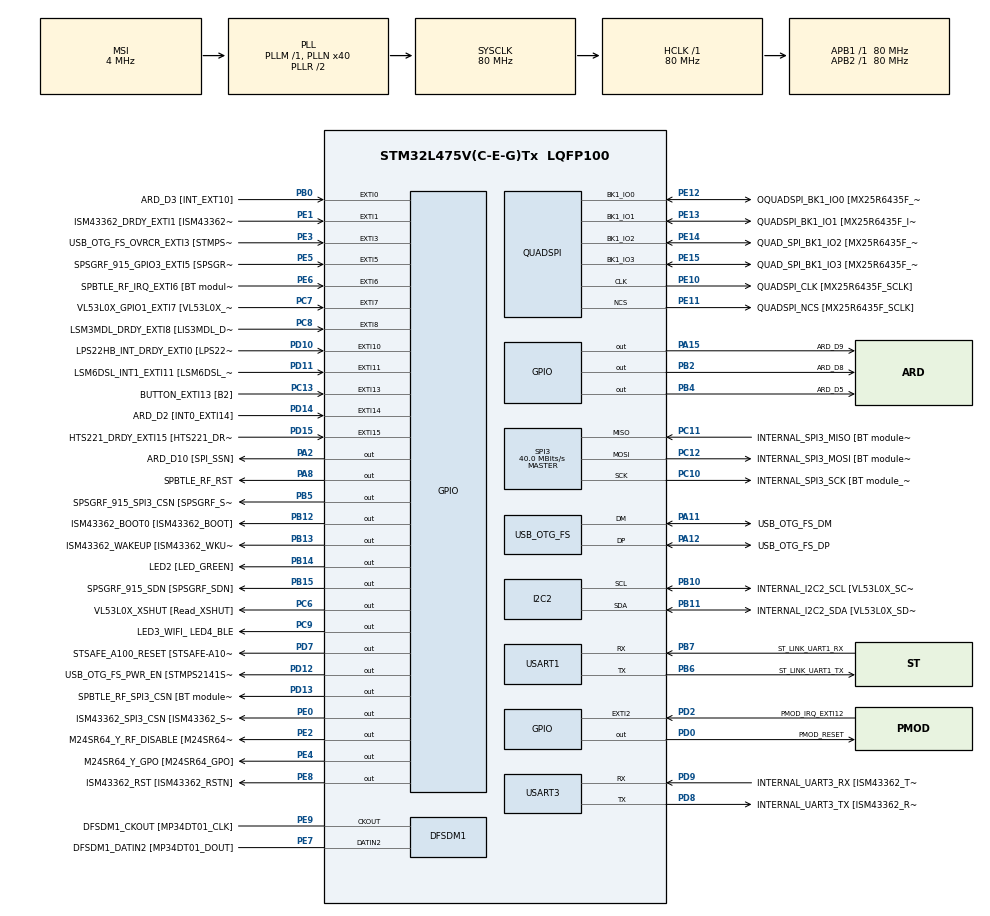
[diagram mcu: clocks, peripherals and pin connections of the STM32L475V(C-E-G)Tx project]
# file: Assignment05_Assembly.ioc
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I2C2.Timing=0x10909CEC
Mcu.Family=STM32L4
Mcu.Name=STM32L475V(C-E-G)Tx
Mcu.Package=LQFP100
NVIC.EXTI15_10_IRQn=true\:0\:0\:false\:false\:true\:true\:true\:true
NVIC.EXTI9_5_IRQn=true\:0\:0\:false\:false\:true\:true\:true\:true
NVIC.PriorityGroup=NVIC_PRIORITYGROUP_4
PA0.GPIO_Label=ARD_D1 [UART4_TX]
PA0.Signal=UART4_TX
PA1.GPIO_Label=ARD_D0 [UART4_RX]
PA1.Signal=UART4_RX
PA10.GPIO_Label=USB_OTG_FS_ID
PA10.Signal=USB_OTG_FS_ID
PA11.GPIO_Label=USB_OTG_FS_DM
PA11.Mode=Device_Only
PA11.Signal=USB_OTG_FS_DM
PA12.GPIO_Label=USB_OTG_FS_DP
PA12.Mode=Device_Only
PA12.Signal=USB_OTG_FS_DP
PA13\ (JTMS-SWDIO).GPIO_Label=SYS_JTMS_SWDIO
PA13\ (JTMS-SWDIO).Mode=Serial_Wire
PA13\ (JTMS-SWDIO).Signal=SYS_JTMS-SWDIO
PA14\ (JTCK-SWCLK).GPIO_Label=SYS_JTCK_SWCLK
PA14\ (JTCK-SWCLK).Mode=Serial_Wire
PA14\ (JTCK-SWCLK).Signal=SYS_JTCK-SWCLK
PA15\ (JTDI).GPIO_Label=ARD_D9
PA15\ (JTDI).Signal=GPIO_Output
PA2.GPIO_Label=ARD_D10 [SPI_SSN]
PA2.Signal=GPIO_Output
PA3.GPIO_Label=ARD_D4
PA3.Signal=S_TIM2_CH4
PA4.GPIO_Label=ARD_D7
PA4.Signal=ADCx_IN9
PA5.GPIO_Label=ARD_D13 [SPI1_SCK]
PA5.Signal=SPI1_SCK
PA6.GPIO_Label=ARD_D12 [SPI1_MISO]
PA6.Signal=SPI1_MISO
PA7.GPIO_Label=ARD_D11 [SPI1_MOSI]
PA7.Signal=SPI1_MOSI
PA8.GPIO_Label=SPBTLE_RF_RST
PA8.Signal=GPIO_Output
PA9.GPIO_Label=USB_OTG_FS_VBUS [STMPS2141STR_OUT]
PA9.Signal=USB_OTG_FS_VBUS
PB0.GPIO_Label=ARD_D3 [INT_EXT10]
PB0.Signal=GPXTI0
PB1.GPIO_Label=ARD_D6 [ADC1_IN6]
PB1.Signal=ADCx_IN16
PB10.GPIO_Label=INTERNAL_I2C2_SCL [VL53L0X_SCL]
PB10.GPIO_Pu=GPIO_PULLUP
PB10.Mode=I2C
PB10.Signal=I2C2_SCL
PB11.GPIO_Label=INTERNAL_I2C2_SDA [VL53L0X_SDA]
PB11.GPIO_Pu=GPIO_PULLUP
PB11.Mode=I2C
PB11.Signal=I2C2_SDA
PB12.GPIO_Label=ISM43362_BOOT0 [ISM43362_BOOT]
PB12.Signal=GPIO_Output
PB13.GPIO_Label=ISM43362_WAKEUP [ISM43362_WKUP]
PB13.Signal=GPIO_Output
PB14.GPIO_Label=LED2 [LED_GREEN]
PB14.Signal=GPIO_Output
PB15.GPIO_Label=SPSGRF_915_SDN [SPSGRF_SDN]
PB15.Signal=GPIO_Output
PB2.GPIO_Label=ARD_D8
PB2.Signal=GPIO_Output
PB3\ (JTDO-TRACESWO).GPIO_Label=SYS_JTD0_SWO
PB3\ (JTDO-TRACESWO).Signal=SYS_JTDO-SWO
PB4\ (NJTRST).GPIO_Label=ARD_D5
PB4\ (NJTRST).Signal=GPIO_Output
PB5.GPIO_Label=SPSGRF_915_SPI3_CSN [SPSGRF_SPI_CS]
PB5.PinState=GPIO_PIN_SET
PB5.Signal=GPIO_Output
PB6.GPIO_Label=ST_LINK_UART1_TX
PB6.Mode=Asynchronous
PB6.Signal=USART1_TX
PB7.GPIO_Label=ST_LINK_UART1_RX
PB7.Mode=Asynchronous
PB7.Signal=USART1_RX
PB8.GPIO_Label=ARD_D15 [I2C1_SCL]
PB8.Signal=I2C1_SCL
PB9.GPIO_Label=ARD_D14 [I2C1_SDA]
PB9.Signal=I2C1_SDA
PC0.GPIO_Label=ARD_A5 [ADC]
PC0.Signal=ADCx_IN1
PC1.GPIO_Label=ARD_A4 [ADC]
PC1.Signal=ADCx_IN2
PC10.GPIO_Label=INTERNAL_SPI3_SCK [BT module_SPI_SCLK] [ISM43362_SCK]
PC10.Mode=Full_Duplex_Master
PC10.Signal=SPI3_SCK
PC11.GPIO_Label=INTERNAL_SPI3_MISO [BT module_SPI_MISO] [ISM43362_MISO]
PC11.Mode=Full_Duplex_Master
PC11.Signal=SPI3_MISO
PC12.GPIO_Label=INTERNAL_SPI3_MOSI [BT module_SPI_MOSI] [ISM43362_MOSI]
PC12.Mode=Full_Duplex_Master
PC12.Signal=SPI3_MOSI
PC13.GPIO_Label=BUTTON_EXTI13 [B2]
PC13.GPIO_ModeDefaultEXTI=GPIO_MODE_IT_FALLING
PC13.Signal=GPXTI13
PC14-OSC32_IN\ (PC14).Mode=LSE-External-Oscillator
PC14-OSC32_IN\ (PC14).Signal=RCC_OSC32_IN
PC15-OSC32_OUT\ (PC15).Mode=LSE-External-Oscillator
PC15-OSC32_OUT\ (PC15).Signal=RCC_OSC32_OUT
PC2.GPIO_Label=ARD_A3 [ADC]
PC2.Signal=ADCx_IN3
PC3.GPIO_Label=ARD_A2 [ADC]
PC3.Signal=ADCx_IN4
PC4.GPIO_Label=ARD_A1 [ADC]
PC4.Signal=ADCx_IN13
PC5.GPIO_Label=ARD_A0 [ADC]
PC5.Signal=ADCx_IN14
PC6.GPIO_Label=VL53L0X_XSHUT [Read_XSHUT]
PC6.Signal=GPIO_Output
PC7.GPIO_Label=VL53L0X_GPIO1_EXTI7 [VL53L0X_GPIO1]
PC7.Signal=GPXTI7
PC8.GPIO_Label=LSM3MDL_DRDY_EXTI8 [LIS3MDL_DRDY]
PC8.Signal=GPXTI8
PC9.GPIO_Label=LED3_WIFI_ LED4_BLE
PC9.Signal=GPIO_Output
PD0.GPIO_Label=PMOD_RESET
PD0.Signal=GPIO_Output
PD1.GPIO_Label=PMOD_SPI2_SCK
PD1.Signal=SPI2_SCK
PD10.GPIO_Label=LPS22HB_INT_DRDY_EXTI0 [LPS22HB_INT_DRDY] 
PD10.Signal=GPXTI10
PD11.GPIO_Label=LSM6DSL_INT1_EXTI11 [LSM6DSL_INT1]
PD11.Signal=GPXTI11
PD12.GPIO_Label=USB_OTG_FS_PWR_EN [STMPS2141STR_EN]
PD12.Signal=GPIO_Output
PD13.GPIO_Label=SPBTLE_RF_SPI3_CSN [BT module_SPI_CS]
PD13.PinState=GPIO_PIN_SET
PD13.Signal=GPIO_Output
PD14.GPIO_Label=ARD_D2 [INT0_EXTI14]
PD14.Signal=GPXTI14
PD15.GPIO_Label=HTS221_DRDY_EXTI15 [HTS221_DRDY]
PD15.Signal=GPXTI15
PD2.GPIO_Label=PMOD_IRQ_EXTI12
PD2.Signal=GPXTI2
PD3.GPIO_Label=PMOD_UART2_CTS
PD3.Signal=USART2_CTS
PD4.GPIO_Label=PMOD_UART2_RTS
PD4.Signal=USART2_RTS
PD5.GPIO_Label=PMOD_UART2_TX
PD5.Signal=USART2_TX
PD6.GPIO_Label=PMOD_UART2_RX
PD6.Signal=USART2_RX
PD7.GPIO_Label=STSAFE_A100_RESET [STSAFE-A100_RESET]
PD7.Signal=GPIO_Output
PD8.GPIO_Label=INTERNAL_UART3_TX [ISM43362_RX]
PD8.Mode=Asynchronous
PD8.Signal=USART3_TX
PD9.GPIO_Label=INTERNAL_UART3_RX [ISM43362_TX]
PD9.Mode=Asynchronous
PD9.Signal=USART3_RX
PE0.GPIO_Label=ISM43362_SPI3_CSN [ISM43362_SSN]
PE0.PinState=GPIO_PIN_SET
PE0.Signal=GPIO_Output
PE1.GPIO_Label=ISM43362_DRDY_EXTI1 [ISM43362_DATARDY]
PE1.Signal=GPXTI1
PE10.GPIO_Label=QUADSPI_CLK [MX25R6435F_SCLK]
PE10.Mode=Single Bank
PE10.Signal=QUADSPI_CLK
PE11.GPIO_Label=QUADSPI_NCS [MX25R6435F_SCLK]
PE11.Mode=Single Bank
PE11.Signal=QUADSPI_NCS
PE12.GPIO_Label=OQUADSPI_BK1_IO0 [MX25R6435F_IO0]
PE12.Mode=Single Bank
PE12.Signal=QUADSPI_BK1_IO0
PE13.GPIO_Label=QUADSPI_BK1_IO1 [MX25R6435F_IO1]
PE13.Mode=Single Bank
PE13.Signal=QUADSPI_BK1_IO1
PE14.GPIO_Label=QUAD_SPI_BK1_IO2 [MX25R6435F_IO2]
PE14.Mode=Single Bank
PE14.Signal=QUADSPI_BK1_IO2
PE15.GPIO_Label=QUAD_SPI_BK1_IO3 [MX25R6435F_IO3]
PE15.Mode=Single Bank
PE15.Signal=QUADSPI_BK1_IO3
PE2.GPIO_Label=M24SR64_Y_RF_DISABLE [M24SR64_RFDIS]
PE2.Signal=GPIO_Output
PE3.GPIO_Label=USB_OTG_FS_OVRCR_EXTI3 [STMPS2141STR_FAULT]
PE3.Signal=GPXTI3
PE4.GPIO_Label=M24SR64_Y_GPO [M24SR64_GPO]
PE4.Signal=GPIO_Output
PE5.GPIO_Label=SPSGRF_915_GPIO3_EXTI5 [SPSGRF_GPIO_3]
PE5.Signal=GPXTI5
PE6.GPIO_Label=SPBTLE_RF_IRQ_EXTI6 [BT module_SPI_IRQ]
PE6.Signal=GPXTI6
PE7.GPIO_Label=DFSDM1_DATIN2 [MP34DT01_DOUT]
PE7.Signal=S_DATAIN2DFSDM1
PE8.GPIO_Label=ISM43362_RST [ISM43362_RSTN]
PE8.Signal=GPIO_Output
PE9.GPIO_Label=DFSDM1_CKOUT [MP34DT01_CLK]
PE9.Signal=S_CKOUTDFSDM1
ProjectManager.HeapSize=0x200
ProjectManager.StackSize=0x400
ProjectManager.TargetToolchain=STM32CubeIDE
QUADSPI.ClockPrescaler=2
QUADSPI.FifoThreshold=4
QUADSPI.FlashSize=23
QUADSPI.SampleShifting=QSPI_SAMPLE_SHIFTING_HALFCYCLE
RCC.ADCFreq_Value=48000000
RCC.AHBFreq_Value=80000000
RCC.APB1Freq_Value=80000000
RCC.APB1TimFreq_Value=80000000
RCC.APB2Freq_Value=80000000
RCC.APB2TimFreq_Value=80000000
RCC.CortexFreq_Value=80000000
RCC.HCLKFreq_Value=80000000
RCC.HSE_VALUE=8000000
RCC.HSI_VALUE=16000000
RCC.MSI_VALUE=4000000
RCC.PLLN=40
RCC.PLLSAI1N=24
RCC.SYSCLKFreq_VALUE=80000000
RCC.SYSCLKSource=RCC_SYSCLKSOURCE_PLLCLK
RCC.USBFreq_Value=48000000
RCC.VCOOutputFreq_Value=160000000
SH.ADCx_IN1.0=ADC1_IN1
SH.ADCx_IN13.0=ADC1_IN13
SH.ADCx_IN14.0=ADC1_IN14
SH.ADCx_IN16.0=ADC1_IN16
SH.ADCx_IN2.0=ADC1_IN2
SH.ADCx_IN3.0=ADC1_IN3
SH.ADCx_IN4.0=ADC1_IN4
SH.ADCx_IN9.0=ADC1_IN9
SH.S_CKOUTDFSDM1.0=DFSDM1_CKOUT,CKOUT
SH.S_CKOUTDFSDM1.1=DFSDM1_CKOUT,PDM_SPI_Input_from_ch12_and_Internal_Clock
SH.S_DATAIN2DFSDM1.0=DFSDM1_DATIN2,PDM_SPI_Input_from_ch12_and_Internal_Clock
SH.S_TIM2_CH4.0=TIM2_CH4
SPI3.CalculateBaudRate=40.0 MBits/s
SPI3.Direction=SPI_DIRECTION_2LINES
SPI3.Mode=SPI_MODE_MASTER
SPI3.VirtualType=VM_MASTER
USART1.VirtualMode-Asynchronous=VM_ASYNC
USART3.VirtualMode-Asynchronous=VM_ASYNC
USB_OTG_FS.VirtualMode=Device_Only
board=B-L475E-IOT01A1

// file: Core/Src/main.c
/* USER CODE BEGIN Header */
/**
  ******************************************************************************
  * @file           : main.c
  * @brief          : Main program body
  ******************************************************************************
  * @attention
  *
  * Copyright (c) 2023 STMicroelectronics.
  * All rights reserved.
  *
  * This software is licensed under terms that can be found in the LICENSE file
  * in the root directory of this software component.
  * If no LICENSE file comes with this software, it is provided AS-IS.
  *
  ******************************************************************************
  */
/* USER CODE END Header */
#include "main.h"

/* USER CODE BEGIN Includes */
#include "print.h"
/* USER CODE END Includes */

/* USER CODE BEGIN PM */
PRINT_DEFINEBUFFER(); // required for lightweight sprintf

/* USER CODE END PM */

DFSDM_Channel_HandleTypeDef hdfsdm1_channel1;

I2C_HandleTypeDef hi2c2;

QSPI_HandleTypeDef hqspi;

SPI_HandleTypeDef hspi3;

UART_HandleTypeDef huart1;
UART_HandleTypeDef huart3;

PCD_HandleTypeDef hpcd_USB_OTG_FS;

void SystemClock_Config(void);
static void MX_GPIO_Init(void);
static void MX_DFSDM1_Init(void);
static void MX_I2C2_Init(void);
static void MX_QUADSPI_Init(void);
static void MX_SPI3_Init(void);
static void MX_USART1_UART_Init(void);
static void MX_USART3_UART_Init(void);
static void MX_USB_OTG_FS_PCD_Init(void);
/* USER CODE BEGIN PFP */
uint32_t sqrAsm(int val);
uint32_t div_asm(int val);
int fah_to_cel_asm(int temperature);
int swap_chars_asm(char *ptr1, char *ptr2);
void swap_pointers(int **ptr1, int **ptr2);

/* USER CODE END PFP */

/* USER CODE BEGIN 0 */

// Change [My name] to your name      //
const uint8_t myTxData[] = "EMBSYS310: UW Test Application - [negar matin]'s STM32L475 IoT node is alive!!!\r\n";
const char* myCstr = "\nHello from assembly! ";
 char* myCstr_2 = "\n X divided by 2 equles : x/2 =  ";
const char  before_str[25] = "\n befor  swapping : ";
const char after_str[25] = "\n after swapping : ";
//char* X_str = "\n x =  ";
const char* X_str = "\n x =  ";
const uint8_t endOfProgram[] = "\n******** THE END ******** \r\n";

int fah_to_cel_asm(int temperature)
{
  // Formula:
  // Subtract 32, then multiply by 5, then divide by 9
  // EX: (50F - 32) x 5/9 = 10C

  asm("SUB r0, %1, #32\n\t"
      "MOV r1, #5\n\t"
      "MUL r0, r0, r1\n\t"
      "MOV r2, #9\n\t"
      "SDIV %0, r0, r2"
      : "=r" (temperature)  // %0 is output variable
      : "0" (temperature)   // %1 is input variable
      : "r1", "r2", "cc"    // r1, r2 and APSR get clobbered
    );

  return temperature;
}

int swap_chars_asm(char *ptr1, char *ptr2) {
  int result = 0;
  /*PrintString("before swapping variables : ");
  Print_uint32(*ptr1);
  PrintString("  ");
  Print_uint32(*ptr2);
  PrintString("\n");
  PrintString("***********************\n");*/

    asm (
        //"ldr r3, [r7, #0]\n"
        //"bl Print_uint32\n"
        "ldr r0, =before_str\n\t"
        "bl PrintString\n"
        "LDR r0, [%2]\n\t"     // Load the value from ptr1 into r0
        "LDR r1, [%1]\n\t"     // Load the value from ptr2 into r1
        "STR r1, [%2]\n\t"     // Store the value of r1 into ptr1 (swapping)
        "STR r0, [%1]\n\t"     // Store the value of r0 into ptr2 (swapping)
        "CMP r0, r1\n\t"          // Compare r0 and r1
        "BEQ zero\n\t"
        "MOV r3,1\n\t"
        "B  end\n\t"
        "zero:\n\t"
        "MOV r3,0\n\t"
        "end:\n\t"
        "STR r3,[%0]\n\t"
        //"ITE NE\n\t"      // If equal
        //"MOVNE %0, #1\n\t"        // Move 1 to result
        //"IT EQ\n\t"               // If equal
        //"MOVEQ %0, #0\n\t"        // Move 0 to result
        : "=r" (result)  //// Output: result variable
        : "r" (ptr1), "r" (ptr2)// Input variables
        : "r0", "r1", "memory"  // Registers used and memory changed
       //: "r0", "r1", "cc", "memory" // Clobbered registers, flags, and memory

    );
    /*PrintString("after swapping  variables : ");
    Print_uint32(*ptr1);
    PrintString("  ");
    Print_uint32(*ptr2);
    PrintString("\n");
    PrintString("***********************\n");*/
    return result;

}

void swap_pointers(int **ptr1, int **ptr2) {

    PrintString("before swapping pointers : \n");
    PrintHex(*ptr1);
    PrintString("\n");
    PrintHex(*ptr2);
    PrintString("\n");
    PrintHex(&ptr1);
    PrintString("  ");
    PrintHex(&ptr2);
    PrintString("\n");
    PrintString("***********************\n");
    asm volatile(
       //push {r0, r1}\n\t"    // Save r0 and r1 on the stack

       /*ldr r0, %[p1]\n\t"    // Load address of ptr1 into r0
        "ldr r1, %[p2]\n\t"    // Load address of ptr2 into r1

        "ldr r2, [r0]\n\t"     // Load value at ptr1 (address of ptr1) into r2
        "ldr r3, [r1]\n\t"     // Load value at ptr2 (address of ptr2) into r3

        "str r3, [r0]\n\t"     // Store value from r3 (address of ptr2) in ptr1
        "str r2, [r1]\n\t"     // Store value from r2 (address of ptr1) in ptr2

       //pop {r0, r1}\n\t"     // Restore r0 and r1 from the stack
        :
        : [p1] "m" (ptr1), [p2] "m" (ptr2)
        : "r2", "r3" */
        "ldr r0, [%0]\n\t"   // Load value at ptr1 into r0
        "ldr r1, [%1]\n\t"   // Load value at ptr2 into r1
        "str r1, [%0]\n\t"   // Store value from r1 in ptr1
        "str r0, [%1]\n\t"   // Store value from r0 in ptr2
        :
        : "r" (ptr1), "r" (ptr2)
        : "r0", "r1", "memory"
    );
    PrintString("after swapping  pointers : \n");
    PrintHex(*ptr1);
    PrintString("\n");
    PrintHex(*ptr2);
    PrintString("\n");
    PrintHex(&ptr1);
    PrintString("  ");
    PrintHex(&ptr2);
    PrintString("\n");
    PrintString("***********************\n");
}

/* USER CODE END 0 */

int main(void)
{

  /* MCU Configuration--------------------------------------------------------*/

  /* Reset of all peripherals, Initializes the Flash interface and the Systick. */
  HAL_Init();

  /* Configure the system clock */
  SystemClock_Config();

  /* Initialize all configured peripherals */
  MX_GPIO_Init();
  MX_DFSDM1_Init();
  MX_I2C2_Init();
  MX_QUADSPI_Init();
  MX_SPI3_Init();
  MX_USART1_UART_Init();
  MX_USART3_UART_Init();
  MX_USB_OTG_FS_PCD_Init();
  /* USER CODE BEGIN 2 */
  HAL_GPIO_TogglePin(GPIOA, GPIO_PIN_5);

  uint8_t counter = 10;
  uint32_t test = 1000;
  uint8_t sqrResult;
  uint8_t divResult;
  int swapResult;
  int  swapVar_1 = 55;
  int  swapVar_2 = 33;
  char* s1 = (char *)&swapVar_1;
  char* s2 = (char *)&swapVar_2;
  int pVar2 = 25;
  int pVar1 = 35;
  int* p1 = &pVar1;
  int* p2 = &pVar2;

  HAL_UART_Transmit(&huart1, myTxData, sizeof(myTxData), 10);

  /* USER CODE END 2 */

  /* Infinite loop */
  /* USER CODE BEGIN WHILE */
  while (counter)
  {
    /* USER CODE END WHILE */

    /* USER CODE BEGIN 3 */
    //PrintString("\nx = ");
   /* Print_uint32(counter);

    sqrResult = sqrAsm(counter);
    PrintString(" x^2 = ");
    Print_uint32(sqrResult);
    PrintString("\n");*/

    //div_asm(counter);

    counter--;
    //PrintByte(counter);

    /*swapResult = swap_chars_asm(s1 ,s2);
    PrintString("\n");
    PrintString("status of swapping  variables is : ");
    Print_uint32(swapResult);
    PrintString("\n");*/
    swap_pointers(&p1,&p2);
    HAL_Delay(500);

    HAL_GPIO_TogglePin(GPIOA, GPIO_PIN_5);
    HAL_GPIO_TogglePin(GPIOB, GPIO_PIN_14);

   HAL_Delay(500);
  }

  // Testing fah_to_cel_asm
 /*int tempC;
  PrintString("\n********** Fahrenheit to Celsius **********\n");

  for (uint32_t tempF = 0; tempF <= 100; tempF++) {
    tempC = fah_to_cel_asm(tempF);
    RETAILMSG(1, ("\t%ld Fahrenheit = %d Celsius\r\n", tempF, tempC));
  }

  HAL_UART_Transmit(&huart1, endOfProgram, sizeof(endOfProgram), 10);*/

  /* USER CODE END 3 */
}

void SystemClock_Config(void)
{
  RCC_OscInitTypeDef RCC_OscInitStruct = {0};
  RCC_ClkInitTypeDef RCC_ClkInitStruct = {0};

  /** Configure the main internal regulator output voltage
  */
  if (HAL_PWREx_ControlVoltageScaling(PWR_REGULATOR_VOLTAGE_SCALE1) != HAL_OK)
  {
    Error_Handler();
  }

  /** Configure LSE Drive Capability
  */
  HAL_PWR_EnableBkUpAccess();
  __HAL_RCC_LSEDRIVE_CONFIG(RCC_LSEDRIVE_LOW);

  /** Initializes the RCC Oscillators according to the specified parameters
  * in the RCC_OscInitTypeDef structure.
  */
  RCC_OscInitStruct.OscillatorType = RCC_OSCILLATORTYPE_LSE|RCC_OSCILLATORTYPE_MSI;
  RCC_OscInitStruct.LSEState = RCC_LSE_ON;
  RCC_OscInitStruct.MSIState = RCC_MSI_ON;
  RCC_OscInitStruct.MSICalibrationValue = 0;
  RCC_OscInitStruct.MSIClockRange = RCC_MSIRANGE_6;
  RCC_OscInitStruct.PLL.PLLState = RCC_PLL_ON;
  RCC_OscInitStruct.PLL.PLLSource = RCC_PLLSOURCE_MSI;
  RCC_OscInitStruct.PLL.PLLM = 1;
  RCC_OscInitStruct.PLL.PLLN = 40;
  RCC_OscInitStruct.PLL.PLLP = RCC_PLLP_DIV7;
  RCC_OscInitStruct.PLL.PLLQ = RCC_PLLQ_DIV2;
  RCC_OscInitStruct.PLL.PLLR = RCC_PLLR_DIV2;
  if (HAL_RCC_OscConfig(&RCC_OscInitStruct) != HAL_OK)
  {
    Error_Handler();
  }

  /** Initializes the CPU, AHB and APB buses clocks
  */
  RCC_ClkInitStruct.ClockType = RCC_CLOCKTYPE_HCLK|RCC_CLOCKTYPE_SYSCLK
                              |RCC_CLOCKTYPE_PCLK1|RCC_CLOCKTYPE_PCLK2;
  RCC_ClkInitStruct.SYSCLKSource = RCC_SYSCLKSOURCE_PLLCLK;
  RCC_ClkInitStruct.AHBCLKDivider = RCC_SYSCLK_DIV1;
  RCC_ClkInitStruct.APB1CLKDivider = RCC_HCLK_DIV1;
  RCC_ClkInitStruct.APB2CLKDivider = RCC_HCLK_DIV1;

  if (HAL_RCC_ClockConfig(&RCC_ClkInitStruct, FLASH_LATENCY_4) != HAL_OK)
  {
    Error_Handler();
  }

  /** Enable MSI Auto calibration
  */
  HAL_RCCEx_EnableMSIPLLMode();
}

static void MX_DFSDM1_Init(void)
{

  hdfsdm1_channel1.Instance = DFSDM1_Channel1;
  hdfsdm1_channel1.Init.OutputClock.Activation = ENABLE;
  hdfsdm1_channel1.Init.OutputClock.Selection = DFSDM_CHANNEL_OUTPUT_CLOCK_SYSTEM;
  hdfsdm1_channel1.Init.OutputClock.Divider = 2;
  hdfsdm1_channel1.Init.Input.Multiplexer = DFSDM_CHANNEL_EXTERNAL_INPUTS;
  hdfsdm1_channel1.Init.Input.DataPacking = DFSDM_CHANNEL_STANDARD_MODE;
  hdfsdm1_channel1.Init.Input.Pins = DFSDM_CHANNEL_FOLLOWING_CHANNEL_PINS;
  hdfsdm1_channel1.Init.SerialInterface.Type = DFSDM_CHANNEL_SPI_RISING;
  hdfsdm1_channel1.Init.SerialInterface.SpiClock = DFSDM_CHANNEL_SPI_CLOCK_INTERNAL;
  hdfsdm1_channel1.Init.Awd.FilterOrder = DFSDM_CHANNEL_FASTSINC_ORDER;
  hdfsdm1_channel1.Init.Awd.Oversampling = 1;
  hdfsdm1_channel1.Init.Offset = 0;
  hdfsdm1_channel1.Init.RightBitShift = 0x00;
  if (HAL_DFSDM_ChannelInit(&hdfsdm1_channel1) != HAL_OK)
  {
    Error_Handler();
  }

}

static void MX_I2C2_Init(void)
{

  hi2c2.Instance = I2C2;
  hi2c2.Init.Timing = 0x10909CEC;
  hi2c2.Init.OwnAddress1 = 0;
  hi2c2.Init.AddressingMode = I2C_ADDRESSINGMODE_7BIT;
  hi2c2.Init.DualAddressMode = I2C_DUALADDRESS_DISABLE;
  hi2c2.Init.OwnAddress2 = 0;
  hi2c2.Init.OwnAddress2Masks = I2C_OA2_NOMASK;
  hi2c2.Init.GeneralCallMode = I2C_GENERALCALL_DISABLE;
  hi2c2.Init.NoStretchMode = I2C_NOSTRETCH_DISABLE;
  if (HAL_I2C_Init(&hi2c2) != HAL_OK)
  {
    Error_Handler();
  }

  /** Configure Analogue filter
  */
  if (HAL_I2CEx_ConfigAnalogFilter(&hi2c2, I2C_ANALOGFILTER_ENABLE) != HAL_OK)
  {
    Error_Handler();
  }

  /** Configure Digital filter
  */
  if (HAL_I2CEx_ConfigDigitalFilter(&hi2c2, 0) != HAL_OK)
  {
    Error_Handler();
  }

}

static void MX_QUADSPI_Init(void)
{

  /* QUADSPI parameter configuration*/
  hqspi.Instance = QUADSPI;
  hqspi.Init.ClockPrescaler = 2;
  hqspi.Init.FifoThreshold = 4;
  hqspi.Init.SampleShifting = QSPI_SAMPLE_SHIFTING_HALFCYCLE;
  hqspi.Init.FlashSize = 23;
  hqspi.Init.ChipSelectHighTime = QSPI_CS_HIGH_TIME_1_CYCLE;
  hqspi.Init.ClockMode = QSPI_CLOCK_MODE_0;
  if (HAL_QSPI_Init(&hqspi) != HAL_OK)
  {
    Error_Handler();
  }

}

static void MX_SPI3_Init(void)
{

  /* SPI3 parameter configuration*/
  hspi3.Instance = SPI3;
  hspi3.Init.Mode = SPI_MODE_MASTER;
  hspi3.Init.Direction = SPI_DIRECTION_2LINES;
  hspi3.Init.DataSize = SPI_DATASIZE_4BIT;
  hspi3.Init.CLKPolarity = SPI_POLARITY_LOW;
  hspi3.Init.CLKPhase = SPI_PHASE_1EDGE;
  hspi3.Init.NSS = SPI_NSS_SOFT;
  hspi3.Init.BaudRatePrescaler = SPI_BAUDRATEPRESCALER_2;
  hspi3.Init.FirstBit = SPI_FIRSTBIT_MSB;
  hspi3.Init.TIMode = SPI_TIMODE_DISABLE;
  hspi3.Init.CRCCalculation = SPI_CRCCALCULATION_DISABLE;
  hspi3.Init.CRCPolynomial = 7;
  hspi3.Init.CRCLength = SPI_CRC_LENGTH_DATASIZE;
  hspi3.Init.NSSPMode = SPI_NSS_PULSE_ENABLE;
  if (HAL_SPI_Init(&hspi3) != HAL_OK)
  {
    Error_Handler();
  }

}

static void MX_USART1_UART_Init(void)
{

  huart1.Instance = USART1;
  huart1.Init.BaudRate = 115200;
  huart1.Init.WordLength = UART_WORDLENGTH_8B;
  huart1.Init.StopBits = UART_STOPBITS_1;
  huart1.Init.Parity = UART_PARITY_NONE;
  huart1.Init.Mode = UART_MODE_TX_RX;
  huart1.Init.HwFlowCtl = UART_HWCONTROL_NONE;
  huart1.Init.OverSampling = UART_OVERSAMPLING_16;
  huart1.Init.OneBitSampling = UART_ONE_BIT_SAMPLE_DISABLE;
  huart1.AdvancedInit.AdvFeatureInit = UART_ADVFEATURE_NO_INIT;
  if (HAL_UART_Init(&huart1) != HAL_OK)
  {
    Error_Handler();
  }

}

static void MX_USART3_UART_Init(void)
{

  huart3.Instance = USART3;
  huart3.Init.BaudRate = 115200;
  huart3.Init.WordLength = UART_WORDLENGTH_8B;
  huart3.Init.StopBits = UART_STOPBITS_1;
  huart3.Init.Parity = UART_PARITY_NONE;
  huart3.Init.Mode = UART_MODE_TX_RX;
  huart3.Init.HwFlowCtl = UART_HWCONTROL_NONE;
  huart3.Init.OverSampling = UART_OVERSAMPLING_16;
  huart3.Init.OneBitSampling = UART_ONE_BIT_SAMPLE_DISABLE;
  huart3.AdvancedInit.AdvFeatureInit = UART_ADVFEATURE_NO_INIT;
  if (HAL_UART_Init(&huart3) != HAL_OK)
  {
    Error_Handler();
  }

}

static void MX_USB_OTG_FS_PCD_Init(void)
{

  hpcd_USB_OTG_FS.Instance = USB_OTG_FS;
  hpcd_USB_OTG_FS.Init.dev_endpoints = 6;
  hpcd_USB_OTG_FS.Init.speed = PCD_SPEED_FULL;
  hpcd_USB_OTG_FS.Init.phy_itface = PCD_PHY_EMBEDDED;
  hpcd_USB_OTG_FS.Init.Sof_enable = DISABLE;
  hpcd_USB_OTG_FS.Init.low_power_enable = DISABLE;
  hpcd_USB_OTG_FS.Init.lpm_enable = DISABLE;
  hpcd_USB_OTG_FS.Init.battery_charging_enable = DISABLE;
  hpcd_USB_OTG_FS.Init.use_dedicated_ep1 = DISABLE;
  hpcd_USB_OTG_FS.Init.vbus_sensing_enable = DISABLE;
  if (HAL_PCD_Init(&hpcd_USB_OTG_FS) != HAL_OK)
  {
    Error_Handler();
  }

}

static void MX_GPIO_Init(void)
{
  GPIO_InitTypeDef GPIO_InitStruct = {0};

  /* GPIO Ports Clock Enable */
  __HAL_RCC_GPIOE_CLK_ENABLE();
  __HAL_RCC_GPIOC_CLK_ENABLE();
  __HAL_RCC_GPIOA_CLK_ENABLE();
  __HAL_RCC_GPIOB_CLK_ENABLE();
  __HAL_RCC_GPIOD_CLK_ENABLE();

  /*Configure GPIO pin Output Level */
  HAL_GPIO_WritePin(GPIOE, M24SR64_Y_RF_DISABLE_Pin|M24SR64_Y_GPO_Pin|ISM43362_RST_Pin, GPIO_PIN_RESET);

  /*Configure GPIO pin Output Level */
  HAL_GPIO_WritePin(GPIOA, ARD_D10_Pin|SPBTLE_RF_RST_Pin|ARD_D9_Pin, GPIO_PIN_RESET);

  /*Configure GPIO pin Output Level */
  HAL_GPIO_WritePin(GPIOB, ARD_D8_Pin|ISM43362_BOOT0_Pin|ISM43362_WAKEUP_Pin|LED2_Pin
                          |SPSGRF_915_SDN_Pin|ARD_D5_Pin, GPIO_PIN_RESET);

  /*Configure GPIO pin Output Level */
  HAL_GPIO_WritePin(GPIOD, USB_OTG_FS_PWR_EN_Pin|PMOD_RESET_Pin|STSAFE_A100_RESET_Pin, GPIO_PIN_RESET);

  /*Configure GPIO pin Output Level */
  HAL_GPIO_WritePin(SPBTLE_RF_SPI3_CSN_GPIO_Port, SPBTLE_RF_SPI3_CSN_Pin, GPIO_PIN_SET);

  /*Configure GPIO pin Output Level */
  HAL_GPIO_WritePin(GPIOC, VL53L0X_XSHUT_Pin|LED3_WIFI__LED4_BLE_Pin, GPIO_PIN_RESET);

  /*Configure GPIO pin Output Level */
  HAL_GPIO_WritePin(SPSGRF_915_SPI3_CSN_GPIO_Port, SPSGRF_915_SPI3_CSN_Pin, GPIO_PIN_SET);

  /*Configure GPIO pin Output Level */
  HAL_GPIO_WritePin(ISM43362_SPI3_CSN_GPIO_Port, ISM43362_SPI3_CSN_Pin, GPIO_PIN_SET);

  /*Configure GPIO pins : M24SR64_Y_RF_DISABLE_Pin M24SR64_Y_GPO_Pin ISM43362_RST_Pin ISM43362_SPI3_CSN_Pin */
  GPIO_InitStruct.Pin = M24SR64_Y_RF_DISABLE_Pin|M24SR64_Y_GPO_Pin|ISM43362_RST_Pin|ISM43362_SPI3_CSN_Pin;
  GPIO_InitStruct.Mode = GPIO_MODE_OUTPUT_PP;
  GPIO_InitStruct.Pull = GPIO_NOPULL;
  GPIO_InitStruct.Speed = GPIO_SPEED_FREQ_LOW;
  HAL_GPIO_Init(GPIOE, &GPIO_InitStruct);

  /*Configure GPIO pins : USB_OTG_FS_OVRCR_EXTI3_Pin SPSGRF_915_GPIO3_EXTI5_Pin SPBTLE_RF_IRQ_EXTI6_Pin ISM43362_DRDY_EXTI1_Pin */
  GPIO_InitStruct.Pin = USB_OTG_FS_OVRCR_EXTI3_Pin|SPSGRF_915_GPIO3_EXTI5_Pin|SPBTLE_RF_IRQ_EXTI6_Pin|ISM43362_DRDY_EXTI1_Pin;
  GPIO_InitStruct.Mode = GPIO_MODE_IT_RISING;
  GPIO_InitStruct.Pull = GPIO_NOPULL;
  HAL_GPIO_Init(GPIOE, &GPIO_InitStruct);

  /*Configure GPIO pin : BUTTON_EXTI13_Pin */
  GPIO_InitStruct.Pin = BUTTON_EXTI13_Pin;
  GPIO_InitStruct.Mode = GPIO_MODE_IT_FALLING;
  GPIO_InitStruct.Pull = GPIO_NOPULL;
  HAL_GPIO_Init(BUTTON_EXTI13_GPIO_Port, &GPIO_InitStruct);

  /*Configure GPIO pins : ARD_A5_Pin ARD_A4_Pin ARD_A3_Pin ARD_A2_Pin
                           ARD_A1_Pin ARD_A0_Pin */
  GPIO_InitStruct.Pin = ARD_A5_Pin|ARD_A4_Pin|ARD_A3_Pin|ARD_A2_Pin
                          |ARD_A1_Pin|ARD_A0_Pin;
  GPIO_InitStruct.Mode = GPIO_MODE_ANALOG_ADC_CONTROL;
  GPIO_InitStruct.Pull = GPIO_NOPULL;
  HAL_GPIO_Init(GPIOC, &GPIO_InitStruct);

  /*Configure GPIO pins : ARD_D1_Pin ARD_D0_Pin */
  GPIO_InitStruct.Pin = ARD_D1_Pin|ARD_D0_Pin;
  GPIO_InitStruct.Mode = GPIO_MODE_AF_PP;
  GPIO_InitStruct.Pull = GPIO_NOPULL;
  GPIO_InitStruct.Speed = GPIO_SPEED_FREQ_VERY_HIGH;
  GPIO_InitStruct.Alternate = GPIO_AF8_UART4;
  HAL_GPIO_Init(GPIOA, &GPIO_InitStruct);

  /*Configure GPIO pins : ARD_D10_Pin SPBTLE_RF_RST_Pin ARD_D9_Pin */
  GPIO_InitStruct.Pin = ARD_D10_Pin|SPBTLE_RF_RST_Pin|ARD_D9_Pin;
  GPIO_InitStruct.Mode = GPIO_MODE_OUTPUT_PP;
  GPIO_InitStruct.Pull = GPIO_NOPULL;
  GPIO_InitStruct.Speed = GPIO_SPEED_FREQ_LOW;
  HAL_GPIO_Init(GPIOA, &GPIO_InitStruct);

  /*Configure GPIO pin : ARD_D4_Pin */
  GPIO_InitStruct.Pin = ARD_D4_Pin;
  GPIO_InitStruct.Mode = GPIO_MODE_AF_PP;
  GPIO_InitStruct.Pull = GPIO_NOPULL;
  GPIO_InitStruct.Speed = GPIO_SPEED_FREQ_LOW;
  GPIO_InitStruct.Alternate = GPIO_AF1_TIM2;
  HAL_GPIO_Init(ARD_D4_GPIO_Port, &GPIO_InitStruct);

  /*Configure GPIO pin : ARD_D7_Pin */
  GPIO_InitStruct.Pin = ARD_D7_Pin;
  GPIO_InitStruct.Mode = GPIO_MODE_ANALOG_ADC_CONTROL;
  GPIO_InitStruct.Pull = GPIO_NOPULL;
  HAL_GPIO_Init(ARD_D7_GPIO_Port, &GPIO_InitStruct);

  /*Configure GPIO pins : ARD_D13_Pin ARD_D12_Pin ARD_D11_Pin */
  GPIO_InitStruct.Pin = ARD_D13_Pin|ARD_D12_Pin|ARD_D11_Pin;
  GPIO_InitStruct.Mode = GPIO_MODE_AF_PP;
  GPIO_InitStruct.Pull = GPIO_NOPULL;
  GPIO_InitStruct.Speed = GPIO_SPEED_FREQ_VERY_HIGH;
  GPIO_InitStruct.Alternate = GPIO_AF5_SPI1;
  HAL_GPIO_Init(GPIOA, &GPIO_InitStruct);

  /*Configure GPIO pin : ARD_D3_Pin */
  GPIO_InitStruct.Pin = ARD_D3_Pin;
  GPIO_InitStruct.Mode = GPIO_MODE_IT_RISING;
  GPIO_InitStruct.Pull = GPIO_NOPULL;
  HAL_GPIO_Init(ARD_D3_GPIO_Port, &GPIO_InitStruct);

  /*Configure GPIO pin : ARD_D6_Pin */
  GPIO_InitStruct.Pin = ARD_D6_Pin;
  GPIO_InitStruct.Mode = GPIO_MODE_ANALOG_ADC_CONTROL;
  GPIO_InitStruct.Pull = GPIO_NOPULL;
  HAL_GPIO_Init(ARD_D6_GPIO_Port, &GPIO_InitStruct);

  /*Configure GPIO pins : ARD_D8_Pin ISM43362_BOOT0_Pin ISM43362_WAKEUP_Pin LED2_Pin
                           SPSGRF_915_SDN_Pin ARD_D5_Pin SPSGRF_915_SPI3_CSN_Pin */
  GPIO_InitStruct.Pin = ARD_D8_Pin|ISM43362_BOOT0_Pin|ISM43362_WAKEUP_Pin|LED2_Pin
                          |SPSGRF_915_SDN_Pin|ARD_D5_Pin|SPSGRF_915_SPI3_CSN_Pin;
  GPIO_InitStruct.Mode = GPIO_MODE_OUTPUT_PP;
  GPIO_InitStruct.Pull = GPIO_NOPULL;
  GPIO_InitStruct.Speed = GPIO_SPEED_FREQ_LOW;
  HAL_GPIO_Init(GPIOB, &GPIO_InitStruct);

  /*Configure GPIO pins : LPS22HB_INT_DRDY_EXTI0_Pin LSM6DSL_INT1_EXTI11_Pin ARD_D2_Pin HTS221_DRDY_EXTI15_Pin
                           PMOD_IRQ_EXTI12_Pin */
  GPIO_InitStruct.Pin = LPS22HB_INT_DRDY_EXTI0_Pin|LSM6DSL_INT1_EXTI11_Pin|ARD_D2_Pin|HTS221_DRDY_EXTI15_Pin
                          |PMOD_IRQ_EXTI12_Pin;
  GPIO_InitStruct.Mode = GPIO_MODE_IT_RISING;
  GPIO_InitStruct.Pull = GPIO_NOPULL;
  HAL_GPIO_Init(GPIOD, &GPIO_InitStruct);

  /*Configure GPIO pins : USB_OTG_FS_PWR_EN_Pin SPBTLE_RF_SPI3_CSN_Pin PMOD_RESET_Pin STSAFE_A100_RESET_Pin */
  GPIO_InitStruct.Pin = USB_OTG_FS_PWR_EN_Pin|SPBTLE_RF_SPI3_CSN_Pin|PMOD_RESET_Pin|STSAFE_A100_RESET_Pin;
  GPIO_InitStruct.Mode = GPIO_MODE_OUTPUT_PP;
  GPIO_InitStruct.Pull = GPIO_NOPULL;
  GPIO_InitStruct.Speed = GPIO_SPEED_FREQ_LOW;
  HAL_GPIO_Init(GPIOD, &GPIO_InitStruct);

  /*Configure GPIO pins : VL53L0X_XSHUT_Pin LED3_WIFI__LED4_BLE_Pin */
  GPIO_InitStruct.Pin = VL53L0X_XSHUT_Pin|LED3_WIFI__LED4_BLE_Pin;
  GPIO_InitStruct.Mode = GPIO_MODE_OUTPUT_PP;
  GPIO_InitStruct.Pull = GPIO_NOPULL;
  GPIO_InitStruct.Speed = GPIO_SPEED_FREQ_LOW;
  HAL_GPIO_Init(GPIOC, &GPIO_InitStruct);

  /*Configure GPIO pins : VL53L0X_GPIO1_EXTI7_Pin LSM3MDL_DRDY_EXTI8_Pin */
  GPIO_InitStruct.Pin = VL53L0X_GPIO1_EXTI7_Pin|LSM3MDL_DRDY_EXTI8_Pin;
  GPIO_InitStruct.Mode = GPIO_MODE_IT_RISING;
  GPIO_InitStruct.Pull = GPIO_NOPULL;
  HAL_GPIO_Init(GPIOC, &GPIO_InitStruct);

  /*Configure GPIO pin : PMOD_SPI2_SCK_Pin */
  GPIO_InitStruct.Pin = PMOD_SPI2_SCK_Pin;
  GPIO_InitStruct.Mode = GPIO_MODE_AF_PP;
  GPIO_InitStruct.Pull = GPIO_NOPULL;
  GPIO_InitStruct.Speed = GPIO_SPEED_FREQ_VERY_HIGH;
  GPIO_InitStruct.Alternate = GPIO_AF5_SPI2;
  HAL_GPIO_Init(PMOD_SPI2_SCK_GPIO_Port, &GPIO_InitStruct);

  /*Configure GPIO pins : PMOD_UART2_CTS_Pin PMOD_UART2_RTS_Pin PMOD_UART2_TX_Pin PMOD_UART2_RX_Pin */
  GPIO_InitStruct.Pin = PMOD_UART2_CTS_Pin|PMOD_UART2_RTS_Pin|PMOD_UART2_TX_Pin|PMOD_UART2_RX_Pin;
  GPIO_InitStruct.Mode = GPIO_MODE_AF_PP;
  GPIO_InitStruct.Pull = GPIO_NOPULL;
  GPIO_InitStruct.Speed = GPIO_SPEED_FREQ_VERY_HIGH;
  GPIO_InitStruct.Alternate = GPIO_AF7_USART2;
  HAL_GPIO_Init(GPIOD, &GPIO_InitStruct);

  /*Configure GPIO pins : ARD_D15_Pin ARD_D14_Pin */
  GPIO_InitStruct.Pin = ARD_D15_Pin|ARD_D14_Pin;
  GPIO_InitStruct.Mode = GPIO_MODE_AF_OD;
  GPIO_InitStruct.Pull = GPIO_NOPULL;
  GPIO_InitStruct.Speed = GPIO_SPEED_FREQ_VERY_HIGH;
  GPIO_InitStruct.Alternate = GPIO_AF4_I2C1;
  HAL_GPIO_Init(GPIOB, &GPIO_InitStruct);

  /* EXTI interrupt init*/
  HAL_NVIC_SetPriority(EXTI9_5_IRQn, 0, 0);
  HAL_NVIC_EnableIRQ(EXTI9_5_IRQn);

  HAL_NVIC_SetPriority(EXTI15_10_IRQn, 0, 0);
  HAL_NVIC_EnableIRQ(EXTI15_10_IRQn);

}

void Error_Handler(void)
{
  __disable_irq();
  while (1)
  {
  }
}
